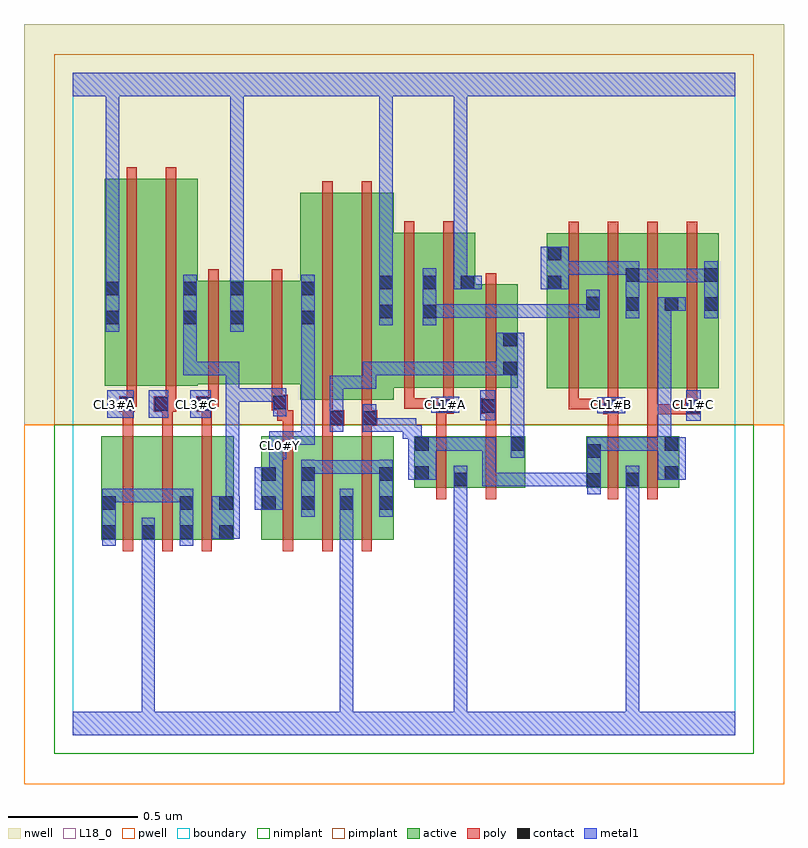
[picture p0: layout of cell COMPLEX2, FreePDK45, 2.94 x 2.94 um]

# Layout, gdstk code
import gdstk
lib = gdstk.Library(unit=1e-6, precision=1e-09)
def R(c, l, rs):  # rectangles x0, y0, x1, y1
    for r in rs: c.add(gdstk.rectangle(r[:2], r[2:], *l))
def A(c, l, x, y, w, h, nx, ny, dx, dy):  # array of equal rectangles
    R(c, l, [(x+i*dx, y+j*dy, x+i*dx+w, y+j*dy+h) for i in range(nx) for j in range(ny)])
active = (1, 0)
pwell = (2, 0)
nwell = (3, 0)
nimplant = (4, 0)
pimplant = (5, 0)
poly = (9, 0)
contact = (10, 0)
metal1 = (11, 0)
L18_0 = (18, 0)
boundary = (235, 0)

complex2 = lib.new_cell('COMPLEX2')
A(complex2, active, 1.98, 1.34, 0.212, 0.6, 3, 1, 0.152, 0)
R(complex2, active, [(0.11,0.756,0.17,1.156), (0.11,0.756,0.322,1.156), (0.262,0.756,0.47,1.156), (0.262,0.756,0.322,1.144), (0.41,0.756,0.47,1.156), (0.41,0.756,0.622,1.156), (0.562,0.756,0.622,1.156), (0.728,0.756,0.788,1.156), (0.728,0.756,0.94,1.156), (0.88,0.756,0.94,1.156), (0.88,0.756,1.088,1.156), (1.028,0.756,1.088,1.156), (1.028,0.756,1.24,1.156), (1.18,0.756,1.24,1.156), (1.32,0.956,1.38,1.156), (1.32,0.956,1.528,1.156), (1.468,0.956,1.528,1.156), (1.468,0.956,1.748,1.156), (1.688,0.956,1.748,1.156), (1.984,0.956,2.044,1.156), (1.984,0.956,2.192,1.156), (2.132,0.956,2.192,1.156), (2.132,0.956,2.344,1.156), (2.284,0.956,2.344,1.156), (0.88,1.296,1.06,2.096), (1.06,1.296,1.24,2.096), (1.832,1.34,2.04,1.94), (1.98,1.34,2.04,1.896), (2.436,1.34,2.496,1.94), (1.18,1.342,1.408,1.942), (1.18,1.342,1.24,2.096), (1.348,1.342,1.556,1.942), (1.496,1.342,1.72,1.742), (1.66,1.342,1.72,1.742), (0.124,1.35,0.304,2.15), (0.124,1.35,0.184,2.15), (0.304,1.35,0.484,2.15), (0.424,1.356,0.484,1.756), (0.424,1.356,0.664,1.756), (0.604,1.356,0.664,1.756), (0.604,1.356,0.94,1.756), (0.88,1.356,0.94,2.096), (2.132,1.388,2.192,1.94), (1.348,1.496,1.408,1.942), (1.496,1.608,1.556,1.78), (2.284,1.636,2.344,1.844), (1.832,1.72,1.892,1.94)])
R(complex2, pwell, [(-0.188,-0.188,2.748,1.2)])
R(complex2, nwell, [(-0.188,1.2,2.748,2.748)])
R(complex2, nimplant, [(-0.072,-0.072,2.632,1.2)])
R(complex2, pimplant, [(-0.072,1.2,2.632,2.632)])
A(complex2, poly, 0.194, 0.712, 0.04, 0.488, 3, 1, 0.152, 0)
A(complex2, poly, 0.812, 0.712, 0.04, 0.488, 3, 1, 0.152, 0)
A(complex2, poly, 0.194, 1.16, 0.04, 0.13, 3, 1, 0.152, 0)
A(complex2, poly, 1.916, 1.296, 0.04, 0.688, 4, 1, 0.152, 0)
R(complex2, poly, [(1.404,0.912,1.444,1.2), (1.596,0.912,1.636,1.2), (2.068,0.912,2.108,1.2), (2.22,0.912,2.26,1.2), (0.812,1.16,0.852,1.256), (0.964,1.16,1.004,1.236), (1.116,1.16,1.156,1.236), (1.404,1.16,1.444,1.282), (1.596,1.16,1.636,1.282), (2.068,1.16,2.108,1.28), (2.22,1.16,2.26,1.28), (0.964,1.196,1.004,1.236), (0.964,1.196,1.004,1.236), (0.964,1.196,1.05,1.256), (1.116,1.196,1.176,1.256), (0.79,1.216,0.83,1.296), (0.79,1.216,0.852,1.256), (0.964,1.216,1.004,1.292), (1.116,1.216,1.156,1.292), (1.116,1.216,1.156,1.256), (1.116,1.216,1.156,1.256), (2.05,1.24,2.11,1.3), (2.22,1.24,2.406,1.28), (2.22,1.24,2.26,1.28), (2.22,1.24,2.26,1.28), (2.22,1.24,2.26,1.28), (2.22,1.24,2.26,1.28), (2.22,1.24,2.26,1.28), (2.22,1.24,2.26,1.336), (2.366,1.24,2.426,1.3), (1.404,1.242,1.444,1.282), (1.404,1.242,1.444,1.282), (1.404,1.242,1.472,1.302), (1.576,1.242,1.636,1.302), (1.596,1.242,1.636,1.282), (1.596,1.242,1.636,1.282), (0.18,1.25,0.24,1.31), (0.314,1.25,0.4,1.31), (0.346,1.25,0.386,1.29), (0.346,1.25,0.386,1.29), (0.478,1.25,0.538,1.31), (0.964,1.252,1.004,2.14), (1.116,1.252,1.156,2.14), (0.77,1.256,0.83,1.316), (1.916,1.26,1.956,1.336), (1.916,1.26,1.956,1.3), (1.916,1.26,1.956,1.3), (1.916,1.26,1.956,1.3), (1.916,1.26,2.108,1.3), (2.068,1.26,2.108,1.336), (2.068,1.26,2.108,1.3), (2.068,1.26,2.108,1.3), (2.372,1.26,2.412,1.336), (1.28,1.262,1.32,1.338), (1.28,1.262,1.32,1.302), (1.28,1.262,1.444,1.302), (1.404,1.262,1.444,1.302), (1.404,1.262,1.444,1.302), (1.432,1.262,1.472,1.338), (1.596,1.262,1.636,1.338), (0.2,1.27,0.24,1.31), (0.2,1.27,0.248,1.31), (0.208,1.27,0.248,1.346), (0.36,1.27,0.4,1.346), (0.498,1.27,0.538,1.31), (0.498,1.27,0.564,1.31), (0.524,1.27,0.564,1.352), (0.77,1.276,0.81,1.352), (1.28,1.298,1.32,1.986), (1.432,1.298,1.472,1.986), (1.596,1.298,1.636,1.786), (0.208,1.306,0.248,2.194), (0.36,1.306,0.4,2.194), (0.524,1.312,0.564,1.8), (0.77,1.312,0.81,1.8)])
A(complex2, contact, 2.136, 1.64, 0.052, 0.052, 3, 1, 0.152, 0)
R(complex2, contact, [(0.114,0.76,0.166,0.812), (0.266,0.76,0.318,0.812), (0.414,0.76,0.466,0.812), (0.566,0.76,0.618,0.812), (0.114,0.872,0.166,0.924), (0.414,0.872,0.466,0.924), (0.566,0.872,0.618,0.924), (0.732,0.872,0.784,0.924), (0.884,0.872,0.936,0.924), (1.032,0.872,1.084,0.924), (1.184,0.872,1.236,0.924), (1.988,0.96,2.04,1.012), (1.472,0.962,1.524,1.014), (2.136,0.962,2.188,1.014), (0.732,0.984,0.784,1.036), (0.884,0.984,0.936,1.036), (1.184,0.984,1.236,1.036), (1.324,0.988,1.376,1.04), (2.288,0.988,2.34,1.04), (1.988,1.072,2.04,1.124), (1.324,1.1,1.376,1.152), (1.692,1.1,1.744,1.152), (2.288,1.1,2.34,1.152), (0.994,1.2,1.046,1.252), (1.12,1.2,1.172,1.252), (2.054,1.244,2.106,1.296), (2.37,1.244,2.422,1.296), (1.414,1.246,1.466,1.298), (1.58,1.246,1.632,1.298), (0.184,1.254,0.236,1.306), (0.318,1.254,0.37,1.306), (0.482,1.254,0.534,1.306), (0.774,1.26,0.826,1.312), (1.664,1.392,1.716,1.444), (1.664,1.504,1.716,1.556), (0.128,1.588,0.18,1.64), (0.428,1.588,0.48,1.64), (0.608,1.588,0.66,1.64), (0.884,1.588,0.936,1.64), (1.184,1.612,1.236,1.664), (1.352,1.612,1.404,1.664), (1.984,1.642,2.036,1.694), (0.128,1.7,0.18,1.752), (0.428,1.7,0.48,1.752), (0.608,1.7,0.66,1.752), (0.884,1.7,0.936,1.752), (1.184,1.724,1.236,1.776), (1.352,1.724,1.404,1.776), (1.5,1.724,1.552,1.776), (1.836,1.724,1.888,1.776), (2.136,1.752,2.188,1.804), (2.44,1.752,2.492,1.804), (1.836,1.836,1.888,1.888)])
R(complex2, metal1, [(0,0,2.56,0.092), (0.266,0.04,0.318,0.092), (0.266,0.04,0.318,0.092), (0.266,0.04,0.318,0.092), (0.266,0.04,0.318,0.092), (0.266,0.04,0.318,0.092), (0.266,0.04,0.318,0.092), (0.266,0.04,0.318,0.092), (0.266,0.04,0.318,0.092), (0.266,0.04,0.318,0.784), (1.032,0.04,1.084,0.092), (1.032,0.04,1.084,0.092), (1.032,0.04,1.084,0.092), (1.032,0.04,1.084,0.092), (1.032,0.04,1.084,0.092), (1.032,0.04,1.084,0.092), (1.032,0.04,1.084,0.896), (1.472,0.04,1.524,0.092), (1.472,0.04,1.524,0.092), (1.472,0.04,1.524,0.092), (1.472,0.04,1.524,0.092), (1.472,0.04,1.524,0.092), (1.472,0.04,1.524,0.092), (1.472,0.04,1.524,0.092), (1.472,0.04,1.524,0.092), (1.472,0.04,1.524,0.092), (1.472,0.04,1.524,0.092), (1.472,0.04,1.524,0.202), (2.136,0.04,2.188,0.092), (2.136,0.04,2.188,0.092), (2.136,0.04,2.188,0.092), (2.136,0.04,2.188,0.092), (2.136,0.04,2.188,0.092), (2.136,0.04,2.188,0.092), (2.136,0.04,2.188,0.092), (2.136,0.04,2.188,0.092), (2.136,0.04,2.188,0.092), (2.136,0.04,2.188,0.092), (2.136,0.04,2.188,0.092), (2.136,0.04,2.188,0.092), (2.136,0.04,2.188,0.092), (2.136,0.04,2.188,0.092), (2.136,0.04,2.188,0.092), (2.136,0.04,2.188,0.092), (2.136,0.04,2.188,0.986), (1.472,0.15,1.524,0.202), (1.472,0.15,1.524,0.202), (1.472,0.15,1.524,0.202), (1.472,0.15,1.524,0.202), (1.472,0.15,1.524,0.202), (1.472,0.15,1.524,0.986), (0.114,0.732,0.166,0.952), (0.266,0.732,0.318,0.784), (0.266,0.732,0.318,0.784), (0.266,0.732,0.318,0.784), (0.266,0.732,0.318,0.784), (0.266,0.732,0.318,0.84), (0.414,0.732,0.466,0.952), (0.538,0.76,0.646,0.924), (0.884,0.844,0.936,1.064), (1.032,0.844,1.084,0.896), (1.032,0.844,1.084,0.896), (1.032,0.844,1.084,0.896), (1.032,0.844,1.084,0.896), (1.032,0.844,1.084,0.896), (1.032,0.844,1.084,0.896), (1.032,0.844,1.084,0.952), (1.184,0.844,1.236,1.064), (0.592,0.872,0.644,1.34), (0.704,0.872,0.812,1.036), (0.114,0.9,0.166,0.952), (0.114,0.9,0.166,0.952), (0.114,0.9,0.34,0.952), (0.288,0.9,0.34,0.952), (0.288,0.9,0.34,0.952), (0.288,0.9,0.34,0.952), (0.288,0.9,0.466,0.952), (1.988,0.932,2.04,1.152), (1.472,0.934,1.524,1.042), (2.136,0.934,2.188,1.042), (1.582,0.962,1.634,1.014), (1.582,0.962,1.634,1.014), (1.582,0.962,1.634,1.014), (1.582,0.962,1.854,1.014), (1.582,0.962,1.634,1.152), (1.802,0.962,1.854,1.014), (1.802,0.962,1.854,1.014), (1.802,0.962,1.854,1.014), (1.802,0.962,1.854,1.014), (1.802,0.962,1.854,1.014), (1.802,0.962,2.04,1.014), (0.76,0.984,0.812,1.118), (1.296,0.988,1.404,1.152), (2.26,0.988,2.368,1.152), (0.884,1.01,1.046,1.062), (0.994,1.01,1.046,1.062), (0.994,1.01,1.046,1.062), (0.994,1.01,1.046,1.062), (0.994,1.01,1.164,1.062), (1.112,1.01,1.164,1.062), (1.112,1.01,1.236,1.062), (0.76,1.066,0.826,1.174), (1.692,1.072,1.744,1.18), (1.296,1.1,1.348,1.198), (1.352,1.1,1.514,1.152), (1.462,1.1,1.514,1.152), (1.462,1.1,1.514,1.152), (1.462,1.1,1.514,1.152), (1.462,1.1,1.634,1.152), (1.582,1.1,1.634,1.152), (1.988,1.1,2.04,1.152), (1.988,1.1,2.04,1.152), (1.988,1.1,2.188,1.152), (2.136,1.1,2.188,1.152), (2.136,1.1,2.188,1.152), (2.136,1.1,2.188,1.152), (2.136,1.1,2.312,1.152), (2.26,1.1,2.312,1.152), (2.26,1.1,2.312,1.152), (2.26,1.1,2.312,1.152), (2.26,1.1,2.312,1.152), (2.26,1.1,2.312,1.692), (0.774,1.122,0.826,1.174), (0.774,1.122,0.826,1.174), (0.774,1.122,0.936,1.174), (0.884,1.122,0.936,1.174), (0.884,1.122,0.936,1.612), (1.692,1.128,1.744,1.18), (1.692,1.128,1.744,1.18), (1.692,1.128,1.744,1.444), (1.276,1.146,1.348,1.198), (1.276,1.146,1.328,1.224), (1.296,1.146,1.348,1.198), (0.994,1.172,1.046,1.28), (1.12,1.172,1.172,1.224), (1.12,1.172,1.172,1.224), (1.12,1.172,1.172,1.28), (1.12,1.172,1.328,1.224), (2.37,1.216,2.426,1.334), (1.574,1.218,1.632,1.334), (0.134,1.226,0.236,1.334), (0.294,1.226,0.37,1.334), (0.454,1.226,0.534,1.334), (0.994,1.228,1.046,1.28), (0.994,1.228,1.046,1.39), (0.774,1.232,0.826,1.34), (2.026,1.244,2.134,1.306), (1.386,1.246,1.494,1.308), (0.592,1.288,0.644,1.34), (0.592,1.288,0.644,1.34), (0.592,1.288,0.826,1.34), (0.592,1.288,0.644,1.444), (0.774,1.288,0.826,1.34), (0.774,1.288,0.826,1.34), (0.994,1.338,1.172,1.39), (1.12,1.338,1.172,1.39), (1.12,1.338,1.172,1.39), (1.12,1.338,1.172,1.39), (1.12,1.338,1.172,1.444), (0.428,1.392,0.48,1.444), (0.428,1.392,0.48,1.444), (0.428,1.392,0.48,1.444), (0.428,1.392,0.48,1.612), (0.428,1.392,0.644,1.444), (1.12,1.392,1.172,1.444), (1.12,1.392,1.282,1.444), (1.23,1.392,1.282,1.444), (1.23,1.392,1.282,1.444), (1.23,1.392,1.282,1.444), (1.23,1.392,1.514,1.444), (1.462,1.392,1.514,1.444), (1.462,1.392,1.514,1.444), (1.462,1.392,1.514,1.444), (1.462,1.392,1.688,1.444), (1.636,1.392,1.688,1.444), (1.636,1.392,1.688,1.444), (1.636,1.392,1.744,1.556), (1.692,1.392,1.744,1.444), (1.692,1.392,1.744,1.444), (0.128,1.56,0.18,1.78), (0.428,1.56,0.48,1.78), (0.608,1.56,0.66,1.78), (0.884,1.56,0.936,1.612), (0.884,1.56,0.936,1.612), (0.884,1.56,0.936,1.78), (1.184,1.584,1.236,1.804), (1.352,1.584,1.404,1.804), (2.136,1.612,2.188,1.832), (2.44,1.612,2.492,1.832), (1.352,1.614,1.514,1.666), (1.462,1.614,1.514,1.666), (1.462,1.614,1.514,1.666), (1.462,1.614,1.514,1.666), (1.462,1.614,1.744,1.666), (1.692,1.614,1.744,1.666), (1.692,1.614,1.744,1.666), (1.692,1.614,1.744,1.666), (1.692,1.614,1.854,1.666), (1.802,1.614,1.854,1.666), (1.802,1.614,1.854,1.666), (1.802,1.614,1.854,1.666), (1.802,1.614,1.854,1.666), (1.802,1.614,1.854,1.666), (1.802,1.614,2.036,1.666), (1.984,1.614,2.036,1.722), (2.26,1.64,2.368,1.692), (1.472,1.724,1.58,1.776), (1.472,1.724,1.524,2.52), (1.808,1.724,1.916,1.888), (0.128,1.728,0.18,2.52), (0.608,1.728,0.66,1.78), (0.608,1.728,0.66,1.78), (0.608,1.728,0.66,2.52), (2.136,1.75,2.188,1.802), (2.136,1.75,2.188,1.802), (2.136,1.75,2.298,1.802), (2.246,1.75,2.298,1.802), (2.246,1.75,2.492,1.802), (2.44,1.75,2.492,1.802), (2.44,1.75,2.492,1.802), (1.184,1.752,1.236,2.52), (1.864,1.78,1.916,1.832), (1.864,1.78,1.916,1.832), (1.864,1.78,2.078,1.832), (2.026,1.78,2.078,1.832), (2.026,1.78,2.078,1.832), (2.026,1.78,2.078,1.832), (2.026,1.78,2.188,1.832), (0,2.468,2.56,2.56), (0.128,2.468,0.18,2.52), (0.128,2.468,0.18,2.52), (0.128,2.468,0.18,2.52), (0.128,2.468,0.18,2.52), (0.128,2.468,0.18,2.52), (0.128,2.468,0.18,2.52), (0.128,2.468,0.18,2.52), (0.128,2.468,0.18,2.52), (0.608,2.468,0.66,2.52), (0.608,2.468,0.66,2.52), (0.608,2.468,0.66,2.52), (0.608,2.468,0.66,2.52), (0.608,2.468,0.66,2.52), (0.608,2.468,0.66,2.52), (0.608,2.468,0.66,2.52), (0.608,2.468,0.66,2.52), (0.608,2.468,0.66,2.52), (0.608,2.468,0.66,2.52), (0.608,2.468,0.66,2.52), (0.608,2.468,0.66,2.52), (0.608,2.468,0.66,2.52), (0.608,2.468,0.66,2.52), (1.184,2.468,1.236,2.52), (1.184,2.468,1.236,2.52), (1.184,2.468,1.236,2.52), (1.184,2.468,1.236,2.52), (1.184,2.468,1.236,2.52), (1.184,2.468,1.236,2.52), (1.184,2.468,1.236,2.52), (1.184,2.468,1.236,2.52), (1.472,2.468,1.524,2.52), (1.472,2.468,1.524,2.52), (1.472,2.468,1.524,2.52), (1.472,2.468,1.524,2.52), (1.472,2.468,1.524,2.52), (1.472,2.468,1.524,2.52), (1.472,2.468,1.524,2.52), (1.472,2.468,1.524,2.52), (1.472,2.468,1.524,2.52), (1.472,2.468,1.524,2.52), (1.472,2.468,1.524,2.52), (1.472,2.468,1.524,2.52)])
A(complex2, L18_0, 0.134, 1.254, 0.052, 0.052, 3, 1, 0.16, 0)
R(complex2, L18_0, [(0,0,2.56,0.092), (0.266,0.04,0.318,0.092), (0.266,0.04,0.318,0.092), (0.266,0.04,0.318,0.092), (0.266,0.04,0.318,0.092), (0.266,0.04,0.318,0.092), (0.266,0.04,0.318,0.092), (0.266,0.04,0.318,0.092), (0.266,0.04,0.318,0.092), (0.266,0.04,0.318,0.784), (1.032,0.04,1.084,0.092), (1.032,0.04,1.084,0.092), (1.032,0.04,1.084,0.092), (1.032,0.04,1.084,0.092), (1.032,0.04,1.084,0.092), (1.032,0.04,1.084,0.092), (1.032,0.04,1.084,0.896), (1.472,0.04,1.524,0.092), (1.472,0.04,1.524,0.092), (1.472,0.04,1.524,0.092), (1.472,0.04,1.524,0.092), (1.472,0.04,1.524,0.092), (1.472,0.04,1.524,0.092), (1.472,0.04,1.524,0.092), (1.472,0.04,1.524,0.092), (1.472,0.04,1.524,0.092), (1.472,0.04,1.524,0.092), (1.472,0.04,1.524,0.202), (2.136,0.04,2.188,0.092), (2.136,0.04,2.188,0.092), (2.136,0.04,2.188,0.092), (2.136,0.04,2.188,0.092), (2.136,0.04,2.188,0.092), (2.136,0.04,2.188,0.092), (2.136,0.04,2.188,0.092), (2.136,0.04,2.188,0.092), (2.136,0.04,2.188,0.092), (2.136,0.04,2.188,0.092), (2.136,0.04,2.188,0.092), (2.136,0.04,2.188,0.092), (2.136,0.04,2.188,0.092), (2.136,0.04,2.188,0.092), (2.136,0.04,2.188,0.092), (2.136,0.04,2.188,0.092), (2.136,0.04,2.188,0.986), (1.472,0.15,1.524,0.202), (1.472,0.15,1.524,0.202), (1.472,0.15,1.524,0.202), (1.472,0.15,1.524,0.202), (1.472,0.15,1.524,0.202), (1.472,0.15,1.524,0.986), (0.266,0.732,0.318,0.784), (0.266,0.732,0.318,0.784), (0.266,0.732,0.318,0.784), (0.266,0.732,0.318,0.784), (0.266,0.732,0.318,0.84), (1.032,0.844,1.084,0.896), (1.032,0.844,1.084,0.896), (1.032,0.844,1.084,0.896), (1.032,0.844,1.084,0.896), (1.032,0.844,1.084,0.896), (1.032,0.844,1.084,0.896), (1.032,0.844,1.084,0.952), (0.704,0.872,0.812,1.036), (1.472,0.934,1.524,1.042), (2.136,0.934,2.188,1.042), (0.76,0.984,0.812,1.118), (0.76,1.066,0.826,1.174), (0.774,1.094,0.826,1.146), (0.774,1.122,0.826,1.174), (0.774,1.122,0.826,1.174), (0.774,1.122,0.936,1.174), (0.884,1.122,0.936,1.174), (0.884,1.122,0.936,1.612), (2.37,1.216,2.426,1.334), (1.574,1.218,1.632,1.334), (0.134,1.226,0.236,1.334), (0.294,1.226,0.37,1.334), (0.454,1.226,0.534,1.334), (2.026,1.244,2.134,1.306), (1.386,1.246,1.494,1.308), (1.414,1.254,1.466,1.306), (1.574,1.254,1.626,1.306), (2.054,1.254,2.106,1.306), (2.374,1.254,2.426,1.306), (0.128,1.56,0.18,1.78), (0.608,1.56,0.66,1.78), (0.884,1.56,0.936,1.78), (0.884,1.56,0.936,1.612), (0.884,1.56,0.936,1.612), (1.184,1.584,1.236,1.804), (1.472,1.724,1.58,1.776), (1.472,1.724,1.524,2.52), (0.128,1.728,0.18,2.52), (0.608,1.728,0.66,1.78), (0.608,1.728,0.66,1.78), (0.608,1.728,0.66,2.52), (1.184,1.752,1.236,2.52), (0,2.468,2.56,2.56), (0.128,2.468,0.18,2.52), (0.128,2.468,0.18,2.52), (0.128,2.468,0.18,2.52), (0.128,2.468,0.18,2.52), (0.128,2.468,0.18,2.52), (0.128,2.468,0.18,2.52), (0.128,2.468,0.18,2.52), (0.128,2.468,0.18,2.52), (0.608,2.468,0.66,2.52), (0.608,2.468,0.66,2.52), (0.608,2.468,0.66,2.52), (0.608,2.468,0.66,2.52), (0.608,2.468,0.66,2.52), (0.608,2.468,0.66,2.52), (0.608,2.468,0.66,2.52), (0.608,2.468,0.66,2.52), (0.608,2.468,0.66,2.52), (0.608,2.468,0.66,2.52), (0.608,2.468,0.66,2.52), (0.608,2.468,0.66,2.52), (0.608,2.468,0.66,2.52), (0.608,2.468,0.66,2.52), (1.184,2.468,1.236,2.52), (1.184,2.468,1.236,2.52), (1.184,2.468,1.236,2.52), (1.184,2.468,1.236,2.52), (1.184,2.468,1.236,2.52), (1.184,2.468,1.236,2.52), (1.184,2.468,1.236,2.52), (1.184,2.468,1.236,2.52), (1.472,2.468,1.524,2.52), (1.472,2.468,1.524,2.52), (1.472,2.468,1.524,2.52), (1.472,2.468,1.524,2.52), (1.472,2.468,1.524,2.52), (1.472,2.468,1.524,2.52), (1.472,2.468,1.524,2.52), (1.472,2.468,1.524,2.52), (1.472,2.468,1.524,2.52), (1.472,2.468,1.524,2.52), (1.472,2.468,1.524,2.52), (1.472,2.468,1.524,2.52)])
R(complex2, boundary, [(0,0,2.56,2.56)])
complex2.add(gdstk.Label('CL0#Y', (0.8,1.12), layer=11, texttype=0))
complex2.add(gdstk.Label('CL1#A', (1.44,1.28), layer=11, texttype=0))
complex2.add(gdstk.Label('CL1#B', (2.08,1.28), layer=11, texttype=0))
complex2.add(gdstk.Label('CL1#C', (2.4,1.28), layer=11, texttype=0))
complex2.add(gdstk.Label('CL2#A', (1.6,1.28), layer=11, texttype=0))
complex2.add(gdstk.Label('CL3#A', (0.16,1.28), layer=11, texttype=0))
complex2.add(gdstk.Label('CL3#B', (0.32,1.28), layer=11, texttype=0))
complex2.add(gdstk.Label('CL3#C', (0.48,1.28), layer=11, texttype=0))

lib.write_gds('COMPLEX2.gds')
